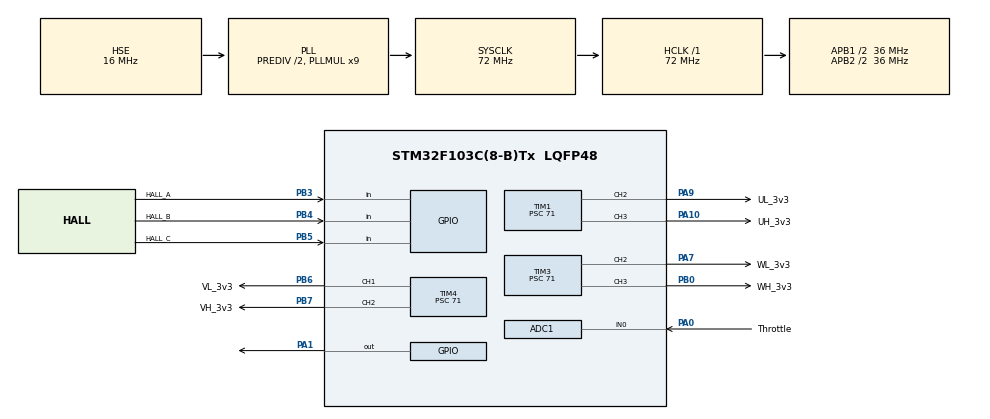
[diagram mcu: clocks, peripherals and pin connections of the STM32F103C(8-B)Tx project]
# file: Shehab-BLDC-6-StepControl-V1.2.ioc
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ADC1.Channel-0\#ChannelRegularConversion=ADC_CHANNEL_0
ADC1.ContinuousConvMode=ENABLE
ADC1.NbrOfConversionFlag=1
ADC1.Rank-0\#ChannelRegularConversion=1
ADC1.SamplingTime-0\#ChannelRegularConversion=ADC_SAMPLETIME_13CYCLES_5
ADC1.master=1
Mcu.Family=STM32F1
Mcu.Name=STM32F103C(8-B)Tx
Mcu.Package=LQFP48
NVIC.PriorityGroup=NVIC_PRIORITYGROUP_4
PA0-WKUP.GPIO_Label=Throttle
PA0-WKUP.Signal=ADCx_IN0
PA1.GPIO_Speed=GPIO_SPEED_FREQ_MEDIUM
PA1.PinState=GPIO_PIN_SET
PA1.Signal=GPIO_Output
PA10.GPIO_Label=UH_3v3
PA10.Signal=S_TIM1_CH3
PA7.GPIO_Label=WL_3v3
PA7.GPIO_Speed=GPIO_SPEED_FREQ_MEDIUM
PA7.Signal=S_TIM3_CH2
PA9.GPIO_Label=UL_3v3
PA9.GPIO_Speed=GPIO_SPEED_FREQ_MEDIUM
PA9.Signal=S_TIM1_CH2
PB0.GPIO_Label=WH_3v3
PB0.Signal=S_TIM3_CH3
PB3.GPIO_Label=HALL_A
PB3.Signal=GPIO_Input
PB4.GPIO_Label=HALL_B
PB4.Signal=GPIO_Input
PB5.GPIO_Label=HALL_C
PB5.Signal=GPIO_Input
PB6.GPIO_Label=VL_3v3
PB6.GPIO_Speed=GPIO_SPEED_FREQ_MEDIUM
PB6.Signal=S_TIM4_CH1
PB7.GPIO_Label=VH_3v3
PB7.GPIO_Speed=GPIO_SPEED_FREQ_MEDIUM
PB7.Signal=S_TIM4_CH2
PD0-OSC_IN.Mode=HSE-External-Oscillator
PD0-OSC_IN.Signal=RCC_OSC_IN
PD1-OSC_OUT.Mode=HSE-External-Oscillator
PD1-OSC_OUT.Signal=RCC_OSC_OUT
ProjectManager.HeapSize=0x200
ProjectManager.StackSize=0x400
ProjectManager.TargetToolchain=STM32CubeIDE
RCC.ADCPresc=RCC_ADCPCLK2_DIV4
RCC.AHBFreq_Value=72000000
RCC.APB1CLKDivider=RCC_HCLK_DIV2
RCC.APB1Freq_Value=36000000
RCC.APB1TimFreq_Value=72000000
RCC.APB2CLKDivider=RCC_HCLK_DIV2
RCC.APB2Freq_Value=36000000
RCC.APB2TimFreq_Value=72000000
RCC.HCLKFreq_Value=72000000
RCC.HSEDivPLL=RCC_HSE_PREDIV_DIV2
RCC.HSE_VALUE=16000000
RCC.PLLMUL=RCC_PLL_MUL9
RCC.PLLSourceVirtual=RCC_PLLSOURCE_HSE
RCC.SYSCLKFreq_VALUE=72000000
RCC.SYSCLKSource=RCC_SYSCLKSOURCE_PLLCLK
RCC.USBFreq_Value=72000000
SH.ADCx_IN0.0=ADC1_IN0,IN0
SH.S_TIM1_CH2.0=TIM1_CH2,PWM Generation2 CH2
SH.S_TIM1_CH3.0=TIM1_CH3,PWM Generation3 CH3
SH.S_TIM3_CH2.0=TIM3_CH2,PWM Generation2 CH2
SH.S_TIM3_CH3.0=TIM3_CH3,PWM Generation3 CH3
SH.S_TIM4_CH1.0=TIM4_CH1,PWM Generation1 CH1
SH.S_TIM4_CH2.0=TIM4_CH2,PWM Generation2 CH2
TIM1.AutoReloadPreload=TIM_AUTORELOAD_PRELOAD_ENABLE
TIM1.Channel-PWM\ Generation2\ CH2=TIM_CHANNEL_2
TIM1.Channel-PWM\ Generation3\ CH3=TIM_CHANNEL_3
TIM1.OCIdleState_2=TIM_OCIDLESTATE_RESET
TIM1.OCPolarity_2=TIM_OCPOLARITY_HIGH
TIM1.Period=100
TIM1.Prescaler=71
TIM2.AutoReloadPreload=TIM_AUTORELOAD_PRELOAD_ENABLE
TIM2.Period=200
TIM2.Prescaler=3599
TIM3.AutoReloadPreload=TIM_AUTORELOAD_PRELOAD_ENABLE
TIM3.Channel-PWM\ Generation2\ CH2=TIM_CHANNEL_2
TIM3.Channel-PWM\ Generation3\ CH3=TIM_CHANNEL_3
TIM3.Period=100
TIM3.Prescaler=71
TIM4.AutoReloadPreload=TIM_AUTORELOAD_PRELOAD_ENABLE
TIM4.Channel-PWM\ Generation1\ CH1=TIM_CHANNEL_1
TIM4.Channel-PWM\ Generation2\ CH2=TIM_CHANNEL_2
TIM4.Period=100
TIM4.Prescaler=71
VP_SYS_VS_ND.Mode=No_Debug
VP_TIM1_VS_ClockSourceINT.Mode=Internal
VP_TIM2_VS_ClockSourceINT.Mode=Internal
VP_TIM3_VS_ClockSourceINT.Mode=Internal
VP_TIM4_VS_ClockSourceINT.Mode=Internal
board=custom

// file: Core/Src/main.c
/* USER CODE BEGIN Header */
/**
  ******************************************************************************
  * @file           : main.c
  * @author 		: ShehabMohamed
  * @brief          : Main program body
  * @version 		: 0.2
  * @date			: 2025-18-03
  * @detail			: BLDC Drive Program
  ******************************************************************************
  * @attention
  *
  * Copyright (c) 2025 STMicroelectronics.
  * All rights reserved.
  *
  * This software is licensed under terms that can be found in the LICENSE file
  * in the root directory of this software component.
  * If no LICENSE file comes with this software, it is provided AS-IS.
  *
  ******************************************************************************
  */
/* USER CODE END Header */
#include "main.h"

/* USER CODE BEGIN Includes */
#include "SpeedModule.h"
/* USER CODE END Includes */

/* USER CODE BEGIN PTD */
	/**
	 * @typedef EXTI_CallBack_t
	 * @brief Configure any variable to be pointer to function .
	 */
	typedef void(*EXTI_CallBack_t)(void);//Global Pointer to function Data Type
/* USER CODE END PTD */

/* USER CODE BEGIN PD */
	/* USER CODE BEGIN PD */
#define HALL_OverSample 	3
		/**
			 * @def TIM_DELAY
			 * @brief Control the wait state between steps
			 * @note change in this control the motor speed and torque
			 */
	#define TIM_DELAY	1
	#define MAX_PWM		100
		/**
			 * @def MIN_PWM
			 * @brief define the Minimum duty cycle value that adc reach to avoid the fault in pwm
			 * @note Do not decrease this value to avoid faults
			 */
	#define MIN_PWM		5

/* USER CODE END PD */

ADC_HandleTypeDef hadc1;

TIM_HandleTypeDef htim1;
TIM_HandleTypeDef htim2;
TIM_HandleTypeDef htim3;
TIM_HandleTypeDef htim4;

/* USER CODE BEGIN PV */
float MotorSpeedRpm=0;
float MotorSpeedKmh=0;
extern uint32_t PulsesPerInterval;
/**
	 * @var     :PrevMotorStep
	 * @brief   :Global variable storing Previous step of the motor .
	 * @warning :Do not modify this value directly.
	 * @Type    :uint8_t
	 */
	uint8_t PrevMotorStep;
		/**
		 * @var     :MotorStep
		 * @brief   :Global variable storing Motor step .
		 * @warning :Do not modify this value directly.
		 * @Type    :uint8_t
		 */
	uint8_t MotorStep;
			/**
			 * @var     :MotorStep
			 * @brief   :Global variable storing DutyCycle of motor to operate .
			 * @warning :Do not modify this value directly.
			 * @Type    :uint16_t
			 */
	uint16_t DutyCycle;
			/**
			 * @var     :HallState1
			 * @var 	:HallState2
			 * @var		:HallState3
			 * @brief   :Global variables storing reads of hall sensors .
			 * @warning :Do not modify this value directly.
			 * @Type    :uint8_t
			 */
	uint8_t HallState1=0,HallState2=0,HallState3=0;
			/**
			 * @var     :USER_CallBack
			 * @brief   :Global variable storing address of the call back funtion .
			 * @warning :Do not modify this value directly.
			 * @Type    :pointer to function
			 */
	EXTI_CallBack_t USER_CallBack=NULL;//GlobalPointerToFunction

/* USER CODE END PV */

void SystemClock_Config(void);
static void MX_GPIO_Init(void);
static void MX_ADC1_Init(void);
static void MX_TIM1_Init(void);
static void MX_TIM3_Init(void);
static void MX_TIM4_Init(void);
static void MX_TIM2_Init(void);
/* USER CODE BEGIN PFP */
void RegisterCallBack(EXTI_CallBack_t Function);
void State1(void);
void State2(void);
void State3(void);

void WaitState(void);
void NextStep(void);
void HallState(void);

void Delay_us(uint16_t DELAY);
void Delay_ms(uint16_t DELAY);

/* USER CODE END PFP */

int main(void)
{

  /* MCU Configuration--------------------------------------------------------*/

  /* Reset of all peripherals, Initializes the Flash interface and the Systick. */
  HAL_Init();

  /* Configure the system clock */
  SystemClock_Config();

  /* Initialize all configured peripherals */
  MX_GPIO_Init();
  MX_ADC1_Init();
  MX_TIM1_Init();
  MX_TIM3_Init();
  MX_TIM4_Init();
  MX_TIM2_Init();
  /* USER CODE BEGIN 2 */
  	 HAL_NVIC_SetPriority(EXTI3_IRQn, 0, 0);
     HAL_NVIC_SetPriority(EXTI4_IRQn, 0, 0);
     HAL_NVIC_SetPriority(EXTI9_5_IRQn, 0, 0);

     HAL_NVIC_EnableIRQ(EXTI3_IRQn);
     HAL_NVIC_EnableIRQ(EXTI4_IRQn);
     HAL_NVIC_EnableIRQ(EXTI9_5_IRQn);

      // HAL_TIM_Base_Start(&htim1);
     HAL_TIM_Base_Start_IT(&htim2);
//       HAL_TIM_Base_Start(&htim3);
//       HAL_TIM_Base_Start(&htim4);

//       HAL_TIM_PWM_Init(&htim1);
//       HAL_TIM_PWM_Init(&htim3);
//       HAL_TIM_PWM_Init(&htim4);

       /*******************************************************************///A-Driving
       HAL_TIM_PWM_Start(&htim1, TIM_CHANNEL_3);//TIMER1 1->2//PA10
       HAL_TIM_PWM_Start(&htim1, TIM_CHANNEL_2);//TIMER1 1->2//PA9
       /*******************************************************************///B-Driving
       HAL_TIM_PWM_Start(&htim3, TIM_CHANNEL_2);//TIMER3 1->4//PA7
       HAL_TIM_PWM_Start(&htim3, TIM_CHANNEL_3);//TIMER3 1->4//PB0
       /*******************************************************************///C-Driving
       HAL_TIM_PWM_Start(&htim4, TIM_CHANNEL_1);//TIMER4 1->4//PB6
       HAL_TIM_PWM_Start(&htim4, TIM_CHANNEL_2);//TIMER4 1->4//PB7
  /* USER CODE END 2 */

  /* Infinite loop */
  /* USER CODE BEGIN WHILE */
  while (1)
  {
	  	  HAL_ADC_Start(&hadc1);
	  	  HAL_ADC_PollForConversion(&hadc1, 30);
	  	  DutyCycle=((HAL_ADC_GetValue(&hadc1)*100)+2047)/4095;

	  	  if(DutyCycle>=MAX_PWM)
	  	  {
	  		  DutyCycle=MAX_PWM;
	  	  }
	  	  if(DutyCycle<=MIN_PWM)
	  	  {
	  		  DutyCycle=0;

	  	  }

	  	  HallState();

    /* USER CODE END WHILE */

  }
}

void SystemClock_Config(void)
{
  RCC_OscInitTypeDef RCC_OscInitStruct = {0};
  RCC_ClkInitTypeDef RCC_ClkInitStruct = {0};
  RCC_PeriphCLKInitTypeDef PeriphClkInit = {0};

  /** Initializes the RCC Oscillators according to the specified parameters
  * in the RCC_OscInitTypeDef structure.
  */
  RCC_OscInitStruct.OscillatorType = RCC_OSCILLATORTYPE_HSE;
  RCC_OscInitStruct.HSEState = RCC_HSE_ON;
  RCC_OscInitStruct.HSEPredivValue = RCC_HSE_PREDIV_DIV2;
  RCC_OscInitStruct.HSIState = RCC_HSI_ON;
  RCC_OscInitStruct.PLL.PLLState = RCC_PLL_ON;
  RCC_OscInitStruct.PLL.PLLSource = RCC_PLLSOURCE_HSE;
  RCC_OscInitStruct.PLL.PLLMUL = RCC_PLL_MUL9;
  if (HAL_RCC_OscConfig(&RCC_OscInitStruct) != HAL_OK)
  {
    Error_Handler();
  }

  /** Initializes the CPU, AHB and APB buses clocks
  */
  RCC_ClkInitStruct.ClockType = RCC_CLOCKTYPE_HCLK|RCC_CLOCKTYPE_SYSCLK
                              |RCC_CLOCKTYPE_PCLK1|RCC_CLOCKTYPE_PCLK2;
  RCC_ClkInitStruct.SYSCLKSource = RCC_SYSCLKSOURCE_PLLCLK;
  RCC_ClkInitStruct.AHBCLKDivider = RCC_SYSCLK_DIV1;
  RCC_ClkInitStruct.APB1CLKDivider = RCC_HCLK_DIV2;
  RCC_ClkInitStruct.APB2CLKDivider = RCC_HCLK_DIV2;

  if (HAL_RCC_ClockConfig(&RCC_ClkInitStruct, FLASH_LATENCY_2) != HAL_OK)
  {
    Error_Handler();
  }
  PeriphClkInit.PeriphClockSelection = RCC_PERIPHCLK_ADC;
  PeriphClkInit.AdcClockSelection = RCC_ADCPCLK2_DIV4;
  if (HAL_RCCEx_PeriphCLKConfig(&PeriphClkInit) != HAL_OK)
  {
    Error_Handler();
  }
}

static void MX_ADC1_Init(void)
{

  ADC_ChannelConfTypeDef sConfig = {0};

  /** Common config
  */
  hadc1.Instance = ADC1;
  hadc1.Init.ScanConvMode = ADC_SCAN_DISABLE;
  hadc1.Init.ContinuousConvMode = ENABLE;
  hadc1.Init.DiscontinuousConvMode = DISABLE;
  hadc1.Init.ExternalTrigConv = ADC_SOFTWARE_START;
  hadc1.Init.DataAlign = ADC_DATAALIGN_RIGHT;
  hadc1.Init.NbrOfConversion = 1;
  if (HAL_ADC_Init(&hadc1) != HAL_OK)
  {
    Error_Handler();
  }

  /** Configure Regular Channel
  */
  sConfig.Channel = ADC_CHANNEL_0;
  sConfig.Rank = ADC_REGULAR_RANK_1;
  sConfig.SamplingTime = ADC_SAMPLETIME_13CYCLES_5;
  if (HAL_ADC_ConfigChannel(&hadc1, &sConfig) != HAL_OK)
  {
    Error_Handler();
  }

}

static void MX_TIM1_Init(void)
{

  TIM_ClockConfigTypeDef sClockSourceConfig = {0};
  TIM_MasterConfigTypeDef sMasterConfig = {0};
  TIM_OC_InitTypeDef sConfigOC = {0};
  TIM_BreakDeadTimeConfigTypeDef sBreakDeadTimeConfig = {0};

  htim1.Instance = TIM1;
  htim1.Init.Prescaler = 71;
  htim1.Init.CounterMode = TIM_COUNTERMODE_UP;
  htim1.Init.Period = 100;
  htim1.Init.ClockDivision = TIM_CLOCKDIVISION_DIV1;
  htim1.Init.RepetitionCounter = 0;
  htim1.Init.AutoReloadPreload = TIM_AUTORELOAD_PRELOAD_ENABLE;
  if (HAL_TIM_Base_Init(&htim1) != HAL_OK)
  {
    Error_Handler();
  }
  sClockSourceConfig.ClockSource = TIM_CLOCKSOURCE_INTERNAL;
  if (HAL_TIM_ConfigClockSource(&htim1, &sClockSourceConfig) != HAL_OK)
  {
    Error_Handler();
  }
  if (HAL_TIM_PWM_Init(&htim1) != HAL_OK)
  {
    Error_Handler();
  }
  sMasterConfig.MasterOutputTrigger = TIM_TRGO_RESET;
  sMasterConfig.MasterSlaveMode = TIM_MASTERSLAVEMODE_DISABLE;
  if (HAL_TIMEx_MasterConfigSynchronization(&htim1, &sMasterConfig) != HAL_OK)
  {
    Error_Handler();
  }
  sConfigOC.OCMode = TIM_OCMODE_PWM1;
  sConfigOC.Pulse = 0;
  sConfigOC.OCPolarity = TIM_OCPOLARITY_HIGH;
  sConfigOC.OCNPolarity = TIM_OCNPOLARITY_HIGH;
  sConfigOC.OCFastMode = TIM_OCFAST_DISABLE;
  sConfigOC.OCIdleState = TIM_OCIDLESTATE_RESET;
  sConfigOC.OCNIdleState = TIM_OCNIDLESTATE_RESET;
  if (HAL_TIM_PWM_ConfigChannel(&htim1, &sConfigOC, TIM_CHANNEL_2) != HAL_OK)
  {
    Error_Handler();
  }
  if (HAL_TIM_PWM_ConfigChannel(&htim1, &sConfigOC, TIM_CHANNEL_3) != HAL_OK)
  {
    Error_Handler();
  }
  sBreakDeadTimeConfig.OffStateRunMode = TIM_OSSR_DISABLE;
  sBreakDeadTimeConfig.OffStateIDLEMode = TIM_OSSI_DISABLE;
  sBreakDeadTimeConfig.LockLevel = TIM_LOCKLEVEL_OFF;
  sBreakDeadTimeConfig.DeadTime = 0;
  sBreakDeadTimeConfig.BreakState = TIM_BREAK_DISABLE;
  sBreakDeadTimeConfig.BreakPolarity = TIM_BREAKPOLARITY_HIGH;
  sBreakDeadTimeConfig.AutomaticOutput = TIM_AUTOMATICOUTPUT_DISABLE;
  if (HAL_TIMEx_ConfigBreakDeadTime(&htim1, &sBreakDeadTimeConfig) != HAL_OK)
  {
    Error_Handler();
  }
  HAL_TIM_MspPostInit(&htim1);

}

static void MX_TIM2_Init(void)
{

  TIM_ClockConfigTypeDef sClockSourceConfig = {0};
  TIM_MasterConfigTypeDef sMasterConfig = {0};

  htim2.Instance = TIM2;
  htim2.Init.Prescaler = 3599;
  htim2.Init.CounterMode = TIM_COUNTERMODE_UP;
  htim2.Init.Period = 200;
  htim2.Init.ClockDivision = TIM_CLOCKDIVISION_DIV1;
  htim2.Init.AutoReloadPreload = TIM_AUTORELOAD_PRELOAD_ENABLE;
  if (HAL_TIM_Base_Init(&htim2) != HAL_OK)
  {
    Error_Handler();
  }
  sClockSourceConfig.ClockSource = TIM_CLOCKSOURCE_INTERNAL;
  if (HAL_TIM_ConfigClockSource(&htim2, &sClockSourceConfig) != HAL_OK)
  {
    Error_Handler();
  }
  sMasterConfig.MasterOutputTrigger = TIM_TRGO_RESET;
  sMasterConfig.MasterSlaveMode = TIM_MASTERSLAVEMODE_DISABLE;
  if (HAL_TIMEx_MasterConfigSynchronization(&htim2, &sMasterConfig) != HAL_OK)
  {
    Error_Handler();
  }

}

static void MX_TIM3_Init(void)
{

  TIM_ClockConfigTypeDef sClockSourceConfig = {0};
  TIM_MasterConfigTypeDef sMasterConfig = {0};
  TIM_OC_InitTypeDef sConfigOC = {0};

  htim3.Instance = TIM3;
  htim3.Init.Prescaler = 71;
  htim3.Init.CounterMode = TIM_COUNTERMODE_UP;
  htim3.Init.Period = 100;
  htim3.Init.ClockDivision = TIM_CLOCKDIVISION_DIV1;
  htim3.Init.AutoReloadPreload = TIM_AUTORELOAD_PRELOAD_ENABLE;
  if (HAL_TIM_Base_Init(&htim3) != HAL_OK)
  {
    Error_Handler();
  }
  sClockSourceConfig.ClockSource = TIM_CLOCKSOURCE_INTERNAL;
  if (HAL_TIM_ConfigClockSource(&htim3, &sClockSourceConfig) != HAL_OK)
  {
    Error_Handler();
  }
  if (HAL_TIM_PWM_Init(&htim3) != HAL_OK)
  {
    Error_Handler();
  }
  sMasterConfig.MasterOutputTrigger = TIM_TRGO_RESET;
  sMasterConfig.MasterSlaveMode = TIM_MASTERSLAVEMODE_DISABLE;
  if (HAL_TIMEx_MasterConfigSynchronization(&htim3, &sMasterConfig) != HAL_OK)
  {
    Error_Handler();
  }
  sConfigOC.OCMode = TIM_OCMODE_PWM1;
  sConfigOC.Pulse = 0;
  sConfigOC.OCPolarity = TIM_OCPOLARITY_HIGH;
  sConfigOC.OCFastMode = TIM_OCFAST_DISABLE;
  if (HAL_TIM_PWM_ConfigChannel(&htim3, &sConfigOC, TIM_CHANNEL_2) != HAL_OK)
  {
    Error_Handler();
  }
  if (HAL_TIM_PWM_ConfigChannel(&htim3, &sConfigOC, TIM_CHANNEL_3) != HAL_OK)
  {
    Error_Handler();
  }
  HAL_TIM_MspPostInit(&htim3);

}

static void MX_TIM4_Init(void)
{

  TIM_ClockConfigTypeDef sClockSourceConfig = {0};
  TIM_MasterConfigTypeDef sMasterConfig = {0};
  TIM_OC_InitTypeDef sConfigOC = {0};

  htim4.Instance = TIM4;
  htim4.Init.Prescaler = 71;
  htim4.Init.CounterMode = TIM_COUNTERMODE_UP;
  htim4.Init.Period = 100;
  htim4.Init.ClockDivision = TIM_CLOCKDIVISION_DIV1;
  htim4.Init.AutoReloadPreload = TIM_AUTORELOAD_PRELOAD_ENABLE;
  if (HAL_TIM_Base_Init(&htim4) != HAL_OK)
  {
    Error_Handler();
  }
  sClockSourceConfig.ClockSource = TIM_CLOCKSOURCE_INTERNAL;
  if (HAL_TIM_ConfigClockSource(&htim4, &sClockSourceConfig) != HAL_OK)
  {
    Error_Handler();
  }
  if (HAL_TIM_PWM_Init(&htim4) != HAL_OK)
  {
    Error_Handler();
  }
  sMasterConfig.MasterOutputTrigger = TIM_TRGO_RESET;
  sMasterConfig.MasterSlaveMode = TIM_MASTERSLAVEMODE_DISABLE;
  if (HAL_TIMEx_MasterConfigSynchronization(&htim4, &sMasterConfig) != HAL_OK)
  {
    Error_Handler();
  }
  sConfigOC.OCMode = TIM_OCMODE_PWM1;
  sConfigOC.Pulse = 0;
  sConfigOC.OCPolarity = TIM_OCPOLARITY_HIGH;
  sConfigOC.OCFastMode = TIM_OCFAST_DISABLE;
  if (HAL_TIM_PWM_ConfigChannel(&htim4, &sConfigOC, TIM_CHANNEL_1) != HAL_OK)
  {
    Error_Handler();
  }
  if (HAL_TIM_PWM_ConfigChannel(&htim4, &sConfigOC, TIM_CHANNEL_2) != HAL_OK)
  {
    Error_Handler();
  }
  HAL_TIM_MspPostInit(&htim4);

}

static void MX_GPIO_Init(void)
{
  GPIO_InitTypeDef GPIO_InitStruct = {0};

  /* GPIO Ports Clock Enable */
  __HAL_RCC_GPIOD_CLK_ENABLE();
  __HAL_RCC_GPIOA_CLK_ENABLE();
  __HAL_RCC_GPIOB_CLK_ENABLE();

  /*Configure GPIO pin Output Level */
  HAL_GPIO_WritePin(GPIOA, GPIO_PIN_1, GPIO_PIN_SET);

  /*Configure GPIO pin : PA1 */
  GPIO_InitStruct.Pin = GPIO_PIN_1;
  GPIO_InitStruct.Mode = GPIO_MODE_OUTPUT_PP;
  GPIO_InitStruct.Pull = GPIO_NOPULL;
  GPIO_InitStruct.Speed = GPIO_SPEED_FREQ_MEDIUM;
  HAL_GPIO_Init(GPIOA, &GPIO_InitStruct);

  /*Configure GPIO pins : HALL_A_Pin HALL_B_Pin HALL_C_Pin */
  GPIO_InitStruct.Pin = HALL_A_Pin|HALL_B_Pin|HALL_C_Pin;
  GPIO_InitStruct.Mode = GPIO_MODE_INPUT;
  GPIO_InitStruct.Pull = GPIO_NOPULL;
  HAL_GPIO_Init(GPIOB, &GPIO_InitStruct);

}

/* USER CODE BEGIN 4 */
/*	@Fun   			:RegisterCallBack
 * 	@brief 			:the function take address of call back function to assign it in global pointer to function
 * 	@parameter[in] 	:Function carry the address of the called back function
 * 	@return			:void
 *
 */
void 		RegisterCallBack(EXTI_CallBack_t Function)
{
	USER_CallBack=Function;
}
/*	@Fun   			:State1
 * 	@brief 			:the function reads the hall sensor 1 output
 * 	@parameter[in] 	:void
 * 	@return			:void
 *
 */
void State1(void)//A
{
	HallState1=HAL_GPIO_ReadPin(GPIOB, GPIO_PIN_3);
}
/*	@Fun   			:State2
 * 	@brief 			:the function reads the hall sensor 2 output
 * 	@parameter[in] 	:void
 * 	@return			:void
 *
 */
void State2(void)//B
{
	HallState2=HAL_GPIO_ReadPin(GPIOB, GPIO_PIN_4);
}
/*	@Fun   			:State3
 * 	@brief 			:the function reads the hall sensor 3 output
 * 	@parameter[in] 	:void
 * 	@return			:void
 *
 */
void State3(void)//C
{
	HallState3=HAL_GPIO_ReadPin(GPIOB, GPIO_PIN_5);

}

/*	@Fun   			:HallState
 * 	@brief 			:the function select the motor step according to the hall sensor reads
 * 	@parameter[in] 	:void
 * 	@return			:void
 *
 */
void HallState(void)//Need To be run after few us
{

	uint8_t HallCounts[]={0,0,0};
	for (uint8_t i=0;i<HALL_OverSample;i++)
	{
		HallCounts[0]+=HAL_GPIO_ReadPin(GPIOB, GPIO_PIN_3);
		HallCounts[1]+=HAL_GPIO_ReadPin(GPIOB, GPIO_PIN_4);
		HallCounts[2]+=HAL_GPIO_ReadPin(GPIOB, GPIO_PIN_5);
	}
	uint8_t hall=0;
	if(HallCounts[0]>=HALL_OverSample/2)
		hall|=(1<<0);
	if(HallCounts[1]>=HALL_OverSample/2)
		hall|=(1<<1);
	if(HallCounts[2]>=HALL_OverSample/2)
		hall|=(1<<2);
	hall&=0x7;
	PrevMotorStep=MotorStep;

	switch (hall)
	{
		case 3://011
			MotorStep=0;
		break;

		case 2://010
			MotorStep=1;
		break;

		case 6://110
			MotorStep=2;
		break;

		case 4://100
			MotorStep=3;
		break;

		case 5 ://101
			MotorStep=4;
		break;

		case 1://001
			MotorStep=5;
		break;

		case 7 ://Invalid cases
		case 0:	//Invalid cases
			MotorStep=6;
		break;

	}
	NextStep();

}
/*	@Fun   			:NextStep
 * 	@brief 			:the function give the signals to drive the gate drivers according to the motor step that comes from hall sensors
 * 	@parameter[in] 	:void
 * 	@return			:void
 *
 */
void NextStep(void)
{
	/*******************************************************************///U-Driving
	//TIM1->CCR1---u+
	//TIM1->CCR2---u-
	/*******************************************************************///V-Driving
	//TIM4->CCR2---v+
	//TIM4->CCR1---v-
	/*******************************************************************///W-Driving
	//TIM3->CCR3---w+
	//TIM3->CCR2---w-
	/*******************************************************************/
	WaitState();/*before changing the state checks if the state already change or not
if yes that means the motor does electric change and also should do delay between the state changes
if no that means
no pulse generated and doesnt need to wait between state changes  */
	switch (MotorStep)
	{
	case 0://011

		/*******************************************************************///U-Driving
		TIM1->CCR3=0;//u+
		TIM1->CCR2=0;//u-
		/*******************************************************************///V-Driving
		TIM4->CCR2=DutyCycle;//v+
		TIM4->CCR1=0;//v-
		/*******************************************************************///W-Driving
		TIM3->CCR3=0;//w+
		TIM3->CCR2=DutyCycle;//w-
		/*******************************************************************/
	break;

	case 1://010

		/*******************************************************************///U-Driving
		TIM1->CCR3=0;//u+
		TIM1->CCR2=DutyCycle;//u-
		/*******************************************************************///V-Driving
		TIM4->CCR2=DutyCycle;//v+
		TIM4->CCR1=0;//v-
		/*******************************************************************///W-Driving
		TIM3->CCR3=0;//w+
		TIM3->CCR2=0;//w-
		/*******************************************************************/

	break;

	case 2://110

		/*******************************************************************///U-Driving
		TIM1->CCR3=0;//u+
		TIM1->CCR2=DutyCycle;//u-
		/*******************************************************************///V-Driving
		TIM4->CCR2=0;//v+
		TIM4->CCR1=0;//v-
		/*******************************************************************///W-Driving
		TIM3->CCR3=DutyCycle;//w+
		TIM3->CCR2=0;//w-
		/*******************************************************************/
	break;

	case 3://100
		/*******************************************************************///U-Driving
		TIM1->CCR3=0;//u+
		TIM1->CCR2=0;//u-
		/*******************************************************************///V-Driving
		TIM4->CCR2=0;//v+
		TIM4->CCR1=DutyCycle;//v-
		/*******************************************************************///W-Driving
		TIM3->CCR3=DutyCycle;//w+
		TIM3->CCR2=0;//w-
		/*******************************************************************/

	break;

	case 4://101
		/*******************************************************************///U-Driving
		TIM1->CCR3=DutyCycle;//u+
		TIM1->CCR2=0;//u-
		/*******************************************************************///V-Driving
		TIM4->CCR2=0;//v+
		TIM4->CCR1=DutyCycle;//v-
		/*******************************************************************///W-Driving
		TIM3->CCR3=0;//w+
		TIM3->CCR2=0;//w-
		/*******************************************************************/
	break;

	case 5://001
		/*******************************************************************///U-Driving
		TIM1->CCR3=DutyCycle;//u+
		TIM1->CCR2=0;//u-
		/*******************************************************************///V-Driving
		TIM4->CCR2=0;//v+
		TIM4->CCR1=0;//v-
		/*******************************************************************///W-Driving
		TIM3->CCR3=0;//w+
		TIM3->CCR2=DutyCycle;//w-
	/*******************************************************************/
		break;
	case 6:
		/*******************************************************************///U-Driving
				TIM1->CCR3=0;//u+
				TIM1->CCR2=0;//u-
				/*******************************************************************///V-Driving
				TIM4->CCR2=0;//v+
				TIM4->CCR1=0;//v-
				/*******************************************************************///W-Driving
				TIM3->CCR3=0;//w+
				TIM3->CCR2=0;//w-
			/*******************************************************************/
	break;

	}

}
/*	@Fun   			:WaitState
 * 	@brief 			:the function force the pwm to halt for a specific off time this control the power of motor and speed
 * 	@parameter[in] 	:void
 * 	@return			:void
 *
 */
void WaitState(void)
{
		//Speed Calculate Mechanism
	if(PrevMotorStep!=MotorStep)
		{
		PulsesPerInterval++;
		/*******************************************************************///A-Driving
		TIM1->CCR3=0;
		TIM1->CCR2=0;
		/*******************************************************************///B-Driving
		TIM3->CCR2=0;
		TIM3->CCR3=0;
		/*******************************************************************///C-Driving
		TIM4->CCR1=0;
		TIM4->CCR2=0;
		/*******************************************************************/
		Delay_us(TIM_DELAY);
		}
		else
		{

		}
	PrevMotorStep = MotorStep;

}

/*	@Fun   			:Delay_us
 * 	@brief 			:the function do a delay with micro seconds
 * 	@parameter[in] 	:DELAY
 * 	@type 			:uint16_t
 * 	@return			:void
 *
 */
void 		Delay_us		(uint16_t DELAY)
{
	__HAL_TIM_SET_COUNTER(&htim2, 0);
	 while (__HAL_TIM_GET_COUNTER(&htim2) <= DELAY);
}
/*	@Fun   			:Delay_ms
 * 	@brief 			:the function do a delay with milli seconds
 * 	@parameter[in] 	:DELAY
 * 	@type 			:uint16_t
 * 	@return			:void
 *
 */
void 		Delay_ms		(uint16_t DELAY)
{

	for (uint16_t Counter=1;Counter<=DELAY;Counter++)
	{
		Delay_us(1000);
	}

}

void HAL_TIM_PeriodElapsedCallback(TIM_HandleTypeDef *htim)
{
    if (htim->Instance == TIM2)
    {
    	SpeedCalculation(&MotorSpeedRpm,&MotorSpeedKmh);
    	PulsesPerInterval = 0;
    }

}
/* USER CODE END 4 */

void Error_Handler(void)
{
  __disable_irq();
  while (1)
  {
  }
}
